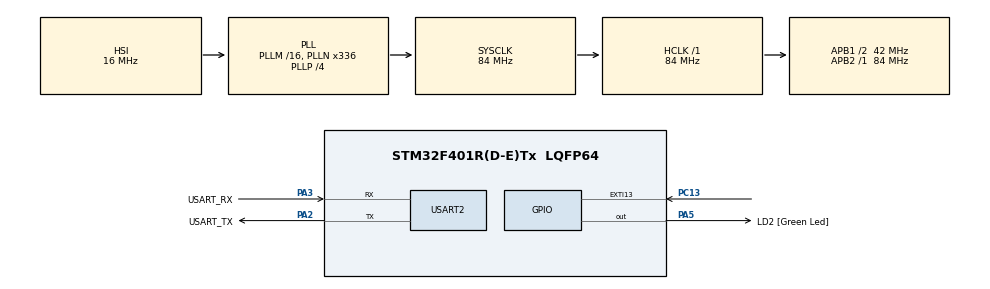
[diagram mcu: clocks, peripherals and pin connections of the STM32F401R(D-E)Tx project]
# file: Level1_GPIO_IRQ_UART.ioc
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Mcu.Family=STM32F4
Mcu.Name=STM32F401R(D-E)Tx
Mcu.Package=LQFP64
NVIC.EXTI15_10_IRQn=true\:0\:0\:false\:false\:true\:true\:true\:true
NVIC.PriorityGroup=NVIC_PRIORITYGROUP_0
NVIC.USART2_IRQn=true\:0\:0\:false\:false\:true\:true\:true\:true
PA13.GPIO_Label=TMS
PA13.Signal=SYS_JTMS-SWDIO
PA14.GPIO_Label=TCK
PA14.Signal=SYS_JTCK-SWCLK
PA2.GPIO_Label=USART_TX
PA2.GPIO_Mode=GPIO_MODE_AF_PP
PA2.GPIO_PuPd=GPIO_NOPULL
PA2.GPIO_Speed=GPIO_SPEED_FREQ_LOW
PA2.Mode=Asynchronous
PA2.Signal=USART2_TX
PA3.GPIO_Label=USART_RX
PA3.GPIO_Mode=GPIO_MODE_AF_PP
PA3.GPIO_PuPd=GPIO_NOPULL
PA3.GPIO_Speed=GPIO_SPEED_FREQ_LOW
PA3.Mode=Asynchronous
PA3.Signal=USART2_RX
PA5.GPIO_Label=LD2 [Green Led]
PA5.GPIO_Mode=GPIO_MODE_OUTPUT_PP
PA5.GPIO_PuPd=GPIO_NOPULL
PA5.GPIO_Speed=GPIO_SPEED_FREQ_LOW
PA5.Signal=GPIO_Output
PB3.GPIO_Label=SWO
PB3.Signal=SYS_JTDO-SWO
PC13-ANTI_TAMP.Signal=GPXTI13
PC14-OSC32_IN.Signal=RCC_OSC32_IN
PC15-OSC32_OUT.Signal=RCC_OSC32_OUT
PH0\ -\ OSC_IN.Signal=RCC_OSC_IN
PH1\ -\ OSC_OUT.Signal=RCC_OSC_OUT
ProjectManager.HeapSize=0x200
ProjectManager.StackSize=0x400
ProjectManager.TargetToolchain=STM32CubeIDE
RCC.AHBFreq_Value=84000000
RCC.APB1CLKDivider=RCC_HCLK_DIV2
RCC.APB1Freq_Value=42000000
RCC.APB1TimFreq_Value=84000000
RCC.APB2Freq_Value=84000000
RCC.APB2TimFreq_Value=84000000
RCC.CortexFreq_Value=84000000
RCC.HCLKFreq_Value=84000000
RCC.HSE_VALUE=8000000
RCC.HSI_VALUE=16000000
RCC.LSE_VALUE=32768
RCC.PLLN=336
RCC.PLLP=RCC_PLLP_DIV4
RCC.PLLQ=7
RCC.SYSCLKFreq_VALUE=84000000
RCC.SYSCLKSource=RCC_SYSCLKSOURCE_PLLCLK
RCC.VCOOutputFreq_Value=336000000
USART2.VirtualMode=VM_ASYNC
board=NUCLEO-F401RE

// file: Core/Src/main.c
/* USER CODE BEGIN Header */
/**
  ******************************************************************************
  * @file           : main.c
  * @brief          : Main program body
  ******************************************************************************
  * @attention
  *
  * Copyright (c) 2026 STMicroelectronics.
  * All rights reserved.
  *
  * This software is licensed under terms that can be found in the LICENSE file
  * in the root directory of this software component.
  * If no LICENSE file comes with this software, it is provided AS-IS.
  *
  ******************************************************************************
  */
/* USER CODE END Header */
#include "main.h"
#include "string.h"

UART_HandleTypeDef huart2;

void SystemClock_Config(void);
static void MX_GPIO_Init(void);
static void MX_USART2_UART_Init(void);

/* USER CODE BEGIN 0 */
uint8_t pressed = 0x00;
uint8_t rcvd[25];
uint8_t idx = 0x00ul;
/* USER CODE END 0 */

int main(void)
{

  /* MCU Configuration--------------------------------------------------------*/

  /* Reset of all peripherals, Initializes the Flash interface and the Systick. */
  HAL_Init();

  /* Configure the system clock */
  SystemClock_Config();

  /* Initialize all configured peripherals */
  MX_GPIO_Init();
  MX_USART2_UART_Init();
  /* USER CODE BEGIN 2 */
  char msg[] = "Button pressed! LED Toggled\r\n!!!";

 //---------- #2
  //HAL_UART_Receive_IT(&huart2, rcvd, 10);
 //----------

  HAL_UART_Receive_IT(&huart2, &rcvd[idx], 1);

  /* USER CODE END 2 */

  /* Infinite loop */
  while (1)
  {

    /* USER CODE BEGIN 3 */
	  if (pressed){
		  HAL_GPIO_TogglePin(GPIOA, GPIO_PIN_5);
		  HAL_UART_Transmit(&huart2, (uint8_t *)msg, strlen(msg), HAL_MAX_DELAY);
		  pressed = 0x00;
	  }
	  //HAL_UART_Receive(&huart2, rcvd, 5, HAL_MAX_DELAY); //we are receiving bytes, but only 1 at a time. tell me the size and we will not give HAL_OK until we have received so many bytes 1 by 1.
	  //HAL_UART_Transmit(&huart2, rcvd, 5, HAL_MAX_DELAY);

	  //HAL_UART_Receive(&huart2, rcvd, 5, 3000); //within 3 seconds, write to the first 5 elements of that array in RAM, or else
	  //HAL_UART_Transmit(&huart2, rcvd, 5, HAL_MAX_DELAY); //print whatever is in that array in RAM

	  //HAL_UART_Receive_IT(&huart2, rcvd, 5);//the size condition remains necessary for HAL_OK, but time condition will not block. time cant expire, and we are incrementing index on array till size completion.
	  //HAL_UART_Transmit(&huart2, rcvd, 5, HAL_MAX_DELAY);
	  //HAL_Delay(1000);
	  //the above is for demonstration purposes only..in practice, the receive_it should be outside the loop, and another receive_it should be in the callback (which runs when receive is complete)

  }
  /* USER CODE END 3 */
}

void SystemClock_Config(void)
{
  RCC_OscInitTypeDef RCC_OscInitStruct = {0};
  RCC_ClkInitTypeDef RCC_ClkInitStruct = {0};

  /** Configure the main internal regulator output voltage
  */
  __HAL_RCC_PWR_CLK_ENABLE();
  __HAL_PWR_VOLTAGESCALING_CONFIG(PWR_REGULATOR_VOLTAGE_SCALE2);

  /** Initializes the RCC Oscillators according to the specified parameters
  * in the RCC_OscInitTypeDef structure.
  */
  RCC_OscInitStruct.OscillatorType = RCC_OSCILLATORTYPE_HSI;
  RCC_OscInitStruct.HSIState = RCC_HSI_ON;
  RCC_OscInitStruct.HSICalibrationValue = RCC_HSICALIBRATION_DEFAULT;
  RCC_OscInitStruct.PLL.PLLState = RCC_PLL_ON;
  RCC_OscInitStruct.PLL.PLLSource = RCC_PLLSOURCE_HSI;
  RCC_OscInitStruct.PLL.PLLM = 16;
  RCC_OscInitStruct.PLL.PLLN = 336;
  RCC_OscInitStruct.PLL.PLLP = RCC_PLLP_DIV4;
  RCC_OscInitStruct.PLL.PLLQ = 7;
  if (HAL_RCC_OscConfig(&RCC_OscInitStruct) != HAL_OK)
  {
    Error_Handler();
  }

  /** Initializes the CPU, AHB and APB buses clocks
  */
  RCC_ClkInitStruct.ClockType = RCC_CLOCKTYPE_HCLK|RCC_CLOCKTYPE_SYSCLK
                              |RCC_CLOCKTYPE_PCLK1|RCC_CLOCKTYPE_PCLK2;
  RCC_ClkInitStruct.SYSCLKSource = RCC_SYSCLKSOURCE_PLLCLK;
  RCC_ClkInitStruct.AHBCLKDivider = RCC_SYSCLK_DIV1;
  RCC_ClkInitStruct.APB1CLKDivider = RCC_HCLK_DIV2;
  RCC_ClkInitStruct.APB2CLKDivider = RCC_HCLK_DIV1;

  if (HAL_RCC_ClockConfig(&RCC_ClkInitStruct, FLASH_LATENCY_2) != HAL_OK)
  {
    Error_Handler();
  }
}

static void MX_USART2_UART_Init(void)
{

  huart2.Instance = USART2;
  huart2.Init.BaudRate = 115200;
  huart2.Init.WordLength = UART_WORDLENGTH_8B;
  huart2.Init.StopBits = UART_STOPBITS_1;
  huart2.Init.Parity = UART_PARITY_NONE;
  huart2.Init.Mode = UART_MODE_TX_RX;
  huart2.Init.HwFlowCtl = UART_HWCONTROL_NONE;
  huart2.Init.OverSampling = UART_OVERSAMPLING_16;
  if (HAL_UART_Init(&huart2) != HAL_OK)
  {
    Error_Handler();
  }

}

static void MX_GPIO_Init(void)
{
  GPIO_InitTypeDef GPIO_InitStruct = {0};

  /* GPIO Ports Clock Enable */
  __HAL_RCC_GPIOC_CLK_ENABLE();
  __HAL_RCC_GPIOH_CLK_ENABLE();
  __HAL_RCC_GPIOA_CLK_ENABLE();
  __HAL_RCC_GPIOB_CLK_ENABLE();

  /*Configure GPIO pin Output Level */
  HAL_GPIO_WritePin(LD2_GPIO_Port, LD2_Pin, GPIO_PIN_RESET);

  /*Configure GPIO pin : PC13 */
  GPIO_InitStruct.Pin = GPIO_PIN_13;
  GPIO_InitStruct.Mode = GPIO_MODE_IT_RISING;
  GPIO_InitStruct.Pull = GPIO_NOPULL;
  HAL_GPIO_Init(GPIOC, &GPIO_InitStruct);

  /*Configure GPIO pin : LD2_Pin */
  GPIO_InitStruct.Pin = LD2_Pin;
  GPIO_InitStruct.Mode = GPIO_MODE_OUTPUT_PP;
  GPIO_InitStruct.Pull = GPIO_NOPULL;
  GPIO_InitStruct.Speed = GPIO_SPEED_FREQ_LOW;
  HAL_GPIO_Init(LD2_GPIO_Port, &GPIO_InitStruct);

  /* EXTI interrupt init*/
  HAL_NVIC_SetPriority(EXTI15_10_IRQn, 0, 0);
  HAL_NVIC_EnableIRQ(EXTI15_10_IRQn);

}

/* USER CODE BEGIN 4 */
void HAL_GPIO_EXTI_Callback(uint16_t GPIO_Pin){
	if ((GPIO_Pin == GPIO_PIN_13)&&(!pressed)){
		pressed = 0x01;
	}
}

//---------- #2
/*void HAL_UART_RxCpltCallback(UART_HandleTypeDef *huart){
	if(huart->Instance == USART2){
		HAL_GPIO_TogglePin(GPIOA, GPIO_PIN_5);
		HAL_UART_Receive_IT(&huart2, rcvd, 10); //restart listening for start bit condition, byte parsing and storage, for that length of data.
		uint8_t msg[50];
		uint8_t preamble[] = "Received: ";
		uint8_t last_idx = 0;
		for (uint8_t i = 0; i<sizeof(preamble); i++){
			msg[i] = preamble[i];
			last_idx = i+1;
		}
		for (uint8_t i = 0; i<sizeof(rcvd); i++){
			msg[sizeof(preamble) + i] = rcvd[i];
			last_idx = sizeof(preamble) + i + 1;
		}
		msg[last_idx] = '\r';
		msg[last_idx + 1] = '\n';
		HAL_UART_Transmit_IT(&huart2, msg, last_idx+2);
	}
}
*/
//----------

void HAL_UART_RxCpltCallback(UART_HandleTypeDef *huart){
	if (huart->Instance == USART2){
		HAL_GPIO_TogglePin(GPIOA, GPIO_PIN_5);
		//AL_UART_Transmit(&huart2, &rcvd[idx], 1, 100);
		//
		if(rcvd[idx] == '\n' || rcvd[idx] == '\r'){
			HAL_UART_Transmit(&huart2, rcvd, idx + 1, 100);
			HAL_UART_Transmit(&huart2, (uint8_t *)"\r\n", 2, 100); //if not blocking, perhaps too fast for serial...gets skipped because of HAL_BUSY
			idx = 0x00;
		}
		else{
			//HAL_UART_Transmit_IT(&huart2, &idx, 1);
			idx++;
		}
		HAL_UART_Receive_IT(&huart2, &rcvd[idx], 1);
	}
}

/* USER CODE END 4 */

void Error_Handler(void)
{
  __disable_irq();
  while (1)
  {
  }
}
